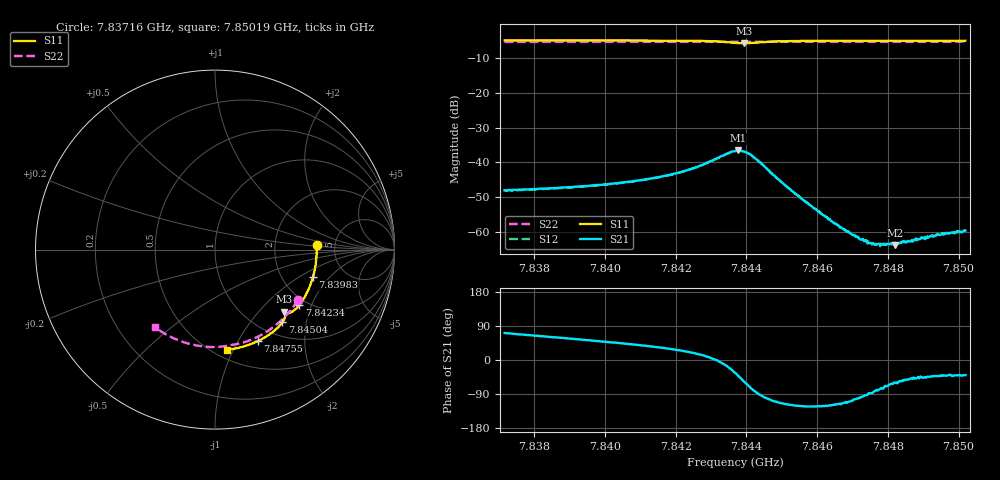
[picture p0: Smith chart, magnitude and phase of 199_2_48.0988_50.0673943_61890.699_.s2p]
#  HZ  S  RI  R  50.00
! Rohde & Schwarz Vector Network Analyzer
! Rohde-Schwarz,ZNB20-2Port,1311601062101988,3.16
! Created: UTC 12/23/2023, 3:54:34 AM
! freq[Hz]  re:S11  im:S11  re:S21  im:S21  re:S12  im:S12  re:S22  im:S22
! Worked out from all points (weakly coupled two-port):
!   401 points, 7.83716 GHz to 7.85019 GHz, reference 50 ohm
!   highest |S21| = -36.54 dB at 7.84377 GHz (marker M1); lowest = -63.8 dB at 7.84821 GHz (marker M2)
!   lowest |S11| = -5.7 dB at 7.84394 GHz (marker M3), VSWR 3.13, Z = 73.3 - j69.1 ohm
!   |S11| at or under -10 dB: nowhere
!   |S22| runs from -5.4 to -5.3 dB; largest |S21 - S12| = 0.00027
!   S11 on the Smith chart (normalised r, x): 7.83716 GHz: 3.59, +0.27; 7.83983 GHz: 2.97, -1.32; 7.84234 GHz: 1.82, -1.64; 7.84504 GHz: 1.25, -1.46; 7.84755 GHz: 0.81, -1.21; 7.85019 GHz: 0.58, -0.95
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7.837158e9  0.5658 0.0257  0.00127 0.00377  0.00131 0.00371  0.4616 -0.2795
7.839341e9  0.5543 -0.1192  0.0027 0.00365  0.00265 0.00362  0.3654 -0.3981
7.83983e9  0.5463 -0.1511  0.00307 0.0036  0.00301 0.00359  0.3395 -0.4205
7.840678e9  0.5278 -0.2054  0.00391 0.00353  0.00386 0.00352  0.2915 -0.4556
7.841525e9  0.5029 -0.2586  0.00515 0.00338  0.0051 0.00339  0.2398 -0.4851
7.84234e9  0.4708 -0.3077  0.00723 0.00285  0.00719 0.00287  0.1874 -0.5078
7.843187e9  0.421 -0.3509  0.0115 -0.000241  0.0116 -0.00027  0.13 -0.5246
7.843676e9  0.3869 -0.3528  0.0121 -0.008  0.0122 -0.00804  0.0974 -0.5302
7.843774e9  0.3836 -0.35  0.011 -0.0101  0.0109 -0.00992  0.0913 -0.5312
7.843937e9  0.383 -0.346  0.00783 -0.012  0.00769 -0.012  0.081 -0.5328
7.844067e9  0.3863 -0.3462  0.00475 -0.0125  0.00489 -0.0125  0.0727 -0.5344
7.844262e9  0.3912 -0.3532  0.00114 -0.0112  0.0012 -0.0113  0.0598 -0.5369
7.845045e9  0.3759 -0.405  -0.00211 -0.00447  -0.00209 -0.00449  0.00543 -0.5426
7.845859e9  0.3358 -0.448  -0.00124 -0.00193  -0.00121 -0.00199  -0.0523 -0.5409
7.846772e9  0.2844 -0.4849  -0.000411 -0.000985  -0.000441 -0.00101  -0.1158 -0.5317
7.847261e9  0.2556 -0.5014  -0.000105 -0.000762  -0.000124 -0.00076  -0.1492 -0.5236
7.847554e9  0.2377 -0.5101  2.99e-05 -0.000687  5.45e-05 -0.000654  -0.1689 -0.5178
7.848043e9  0.2077 -0.5232  0.000285 -0.000606  0.000282 -0.000611  -0.2012 -0.5065
7.848206e9  0.1975 -0.5273  0.000318 -0.000564  0.00036 -0.000597  -0.2118 -0.5021
7.848564e9  0.1747 -0.5352  0.000466 -0.000579  0.000452 -0.000577  -0.2347 -0.4921
7.849444e9  0.1181 -0.5503  0.000676 -0.000605  0.000666 -0.000598  -0.2891 -0.4628
7.850194e9  0.0688 -0.5581  0.000804 -0.000668  0.000807 -0.000708  -0.3324 -0.4331
